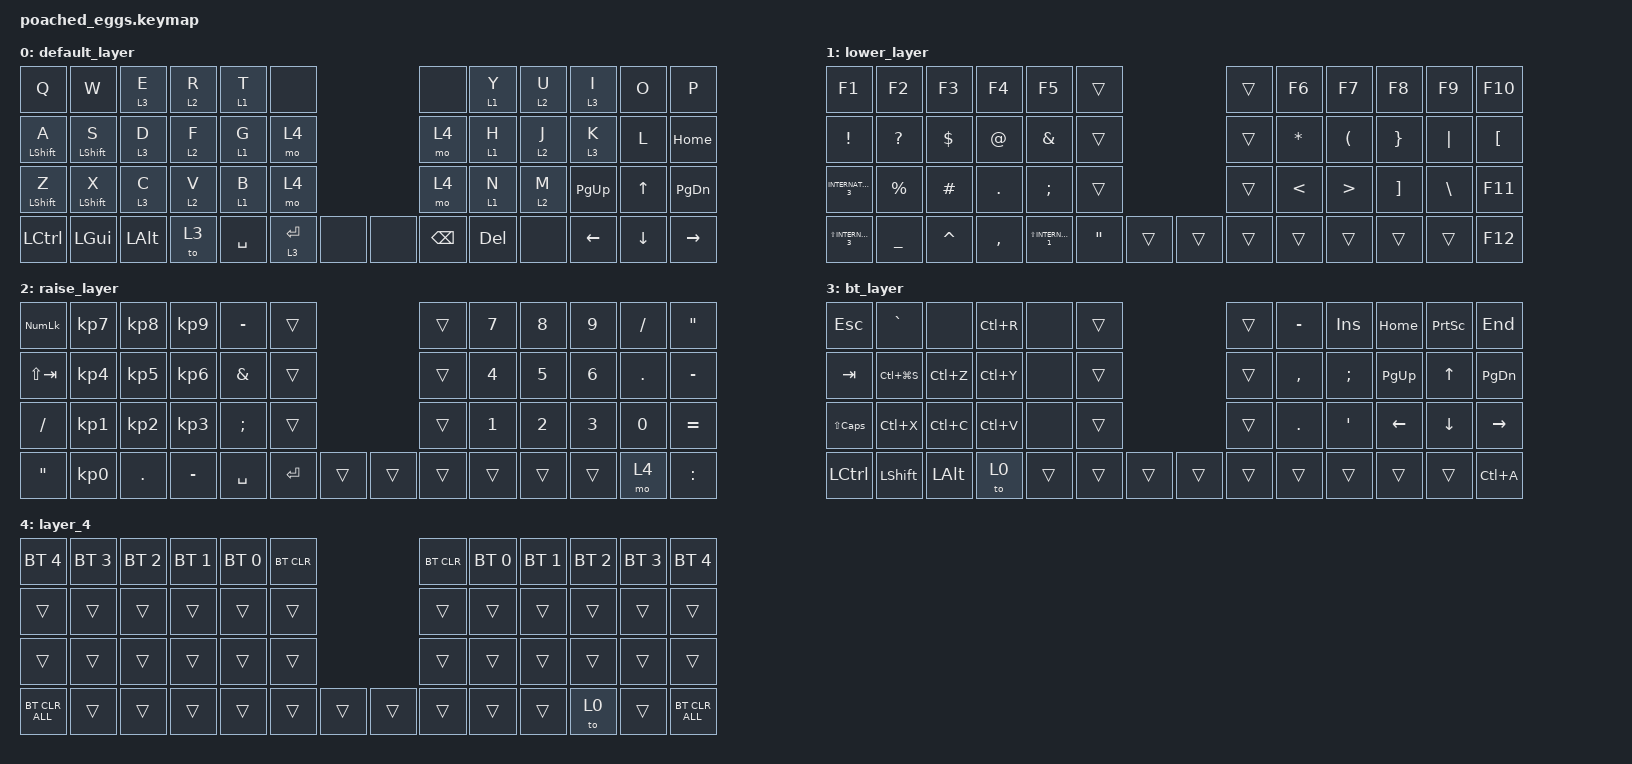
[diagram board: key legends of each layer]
#include <behaviors.dtsi>
#include <dt-bindings/zmk/bt.h>
#include <dt-bindings/zmk/keys.h>

/ {
    keymap {
        compatible = "zmk,keymap";

        default_layer {
            bindings = <
&kp Q             &kp W             &lt 3 E       &lt 2 R  &lt 1 T    &none                      &none          &lt 1 Y  &lt 2 U  &lt 3 I         &kp O           &kp P
&mt LEFT_SHIFT A  &mt LEFT_SHIFT S  &lt 3 D       &lt 2 F  &lt 1 G    &mo 4                      &mo 4          &lt 1 H  &lt 2 J  &lt 3 K         &kp L           &kp HOME
&mt LSHFT Z       &mt LEFT_SHIFT X  &lt 3 C       &lt 2 V  &lt 1 B    &mo 4                      &mo 4          &lt 1 N  &lt 2 M  &kp PAGE_UP     &kp UP_ARROW    &kp PAGE_DOWN
&kp LEFT_CONTROL  &kp LEFT_GUI      &kp LEFT_ALT  &to 3    &kp SPACE  &lt 3 ENTER  &none  &none  &kp BACKSPACE  &kp DEL  &none    &kp LEFT_ARROW  &kp DOWN_ARROW  &kp RIGHT_ARROW
            >;
        };

        lower_layer {
            bindings = <
&kp F1                   &kp F2          &kp F3      &kp F4       &kp F5                   &trans                             &trans  &kp F6         &kp F7                &kp F8             &kp F9         &kp F10
&kp EXCLAMATION          &kp QUESTION    &kp DOLLAR  &kp AT_SIGN  &kp AMPERSAND            &trans                             &trans  &kp ASTERISK   &kp LEFT_PARENTHESIS  &kp RIGHT_BRACE    &kp PIPE       &kp LEFT_BRACKET
&kp INTERNATIONAL_3      &kp PERCENT     &kp HASH    &kp DOT      &kp SEMI                 &trans                             &trans  &kp LESS_THAN  &kp GREATER_THAN      &kp RIGHT_BRACKET  &kp BACKSLASH  &kp F11
&kp LS(INTERNATIONAL_3)  &kp UNDERSCORE  &kp CARET   &kp COMMA    &kp LS(INTERNATIONAL_1)  &kp DOUBLE_QUOTES  &trans  &trans  &trans  &trans         &trans                &trans             &trans         &kp F12
            >;
        };

        raise_layer {
            bindings = <
&kp KP_NUM         &kp KP_NUMBER_7  &kp KP_NUMBER_8  &kp KP_NUMBER_9  &kp MINUS      &trans                     &trans  &kp NUMBER_7  &kp NUMBER_8  &kp NUMBER_9  &kp SLASH     &kp DOUBLE_QUOTES
&kp LS(TAB)        &kp KP_NUMBER_4  &kp KP_NUMBER_5  &kp KP_NUMBER_6  &kp AMPERSAND  &trans                     &trans  &kp NUMBER_4  &kp NUMBER_5  &kp NUMBER_6  &kp DOT       &kp MINUS
&kp SLASH          &kp KP_NUMBER_1  &kp KP_NUMBER_2  &kp KP_NUMBER_3  &kp SEMI       &trans                     &trans  &kp NUMBER_1  &kp NUMBER_2  &kp NUMBER_3  &kp NUMBER_0  &kp EQUAL
&kp DOUBLE_QUOTES  &kp KP_NUMBER_0  &kp DOT          &kp MINUS        &kp SPACE      &kp ENTER  &trans  &trans  &trans  &trans        &trans        &trans        &mo 4         &kp COLON
            >;
        };

        bt_layer {
            bindings = <
&kp ESCAPE        &kp GRAVE       &none         &kp LC(R)  &none   &trans                  &trans  &kp MINUS   &kp INSERT      &kp HOME        &kp PRINTSCREEN  &kp END
&kp TAB           &kp LC(LG(S))   &kp LC(Z)     &kp LC(Y)  &none   &trans                  &trans  &kp COMMA   &kp SEMICOLON   &kp PAGE_UP     &kp UP_ARROW     &kp PAGE_DOWN
&kp LS(CAPSLOCK)  &kp LC(X)       &kp LC(C)     &kp LC(V)  &none   &trans                  &trans  &kp PERIOD  &kp APOSTROPHE  &kp LEFT_ARROW  &kp DOWN_ARROW   &kp RIGHT_ARROW
&kp LEFT_CONTROL  &kp LEFT_SHIFT  &kp LEFT_ALT  &to 0      &trans  &trans  &trans  &trans  &trans  &trans      &trans          &trans          &trans           &kp LC(A)
            >;
        };

        layer_4 {
            bindings = <
&bt BT_SEL 4    &bt BT_SEL 3  &bt BT_SEL 2  &bt BT_SEL 1  &bt BT_SEL 0  &bt BT_CLR                  &bt BT_CLR  &bt BT_SEL 0  &bt BT_SEL 1  &bt BT_SEL 2  &bt BT_SEL 3  &bt BT_SEL 4
&trans          &trans        &trans        &trans        &trans        &trans                      &trans      &trans        &trans        &trans        &trans        &trans
&trans          &trans        &trans        &trans        &trans        &trans                      &trans      &trans        &trans        &trans        &trans        &trans
&bt BT_CLR_ALL  &trans        &trans        &trans        &trans        &trans      &trans  &trans  &trans      &trans        &trans        &to 0         &trans        &bt BT_CLR_ALL
            >;
        };
    };
};
